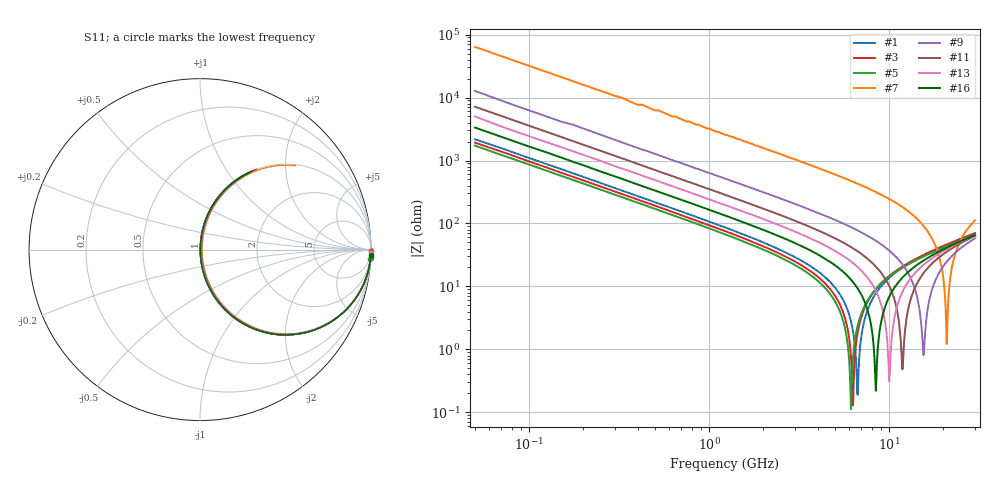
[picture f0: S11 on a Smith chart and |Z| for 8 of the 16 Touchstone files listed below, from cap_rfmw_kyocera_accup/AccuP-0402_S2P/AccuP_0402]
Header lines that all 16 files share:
!	AVX Thin Film Operation 	Date: April 2014
!	Description: Accu-P® Series, Thin Film  SMD RF Capacitor
# MHZ S MA R 50
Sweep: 50 MHz to 30 GHz
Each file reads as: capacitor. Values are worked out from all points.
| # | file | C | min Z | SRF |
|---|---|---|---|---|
| 1 | C0402SEA45.s2p | 1.45 pF | 191 mohm | 6.676 GHz |
| 2 | C0402SEA55.s2p | 1.55 pF | 177 mohm | 6.465 GHz |
| 3 | C0402SEA65.s2p | 1.65 pF | 129 mohm | 6.298 GHz |
| 4 | C0402SEA75.s2p | 1.75 pF | 124 mohm | 6.323 GHz |
| 5 | C0402SEA85.s2p | 1.85 pF | 113 mohm | 6.142 GHz |
| 6 | C0402SEA95.s2p | 1.95 pF | 117 mohm | 5.925 GHz |
| 7 | C0402SEr05.s2p | 50 fF | 1.22 ohm | 20.91 GHz |
| 8 | C0402SEr15.s2p | 151 fF | 1.01 ohm | 17.93 GHz |
| 9 | C0402SEr25.s2p | 250 fF | 809 mohm | 15.53 GHz |
| 10 | C0402SEr35.s2p | 350 fF | 606 mohm | 14.05 GHz |
| 11 | C0402SEr45.s2p | 448 fF | 482 mohm | 11.86 GHz |
| 12 | C0402SEr55.s2p | 550 fF | 385 mohm | 10.89 GHz |
| 13 | C0402SEr65.s2p | 648 fF | 312 mohm | 10.03 GHz |
| 14 | C0402SEr75.s2p | 750 fF | 296 mohm | 9.336 GHz |
| 15 | C0402SEr85.s2p | 849 fF | 284 mohm | 8.966 GHz |
| 16 | C0402SEr95.s2p | 950 fF | 221 mohm | 8.432 GHz |
